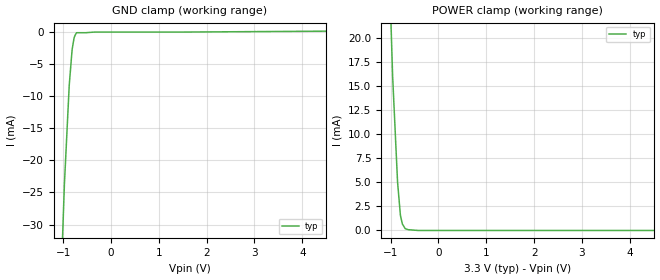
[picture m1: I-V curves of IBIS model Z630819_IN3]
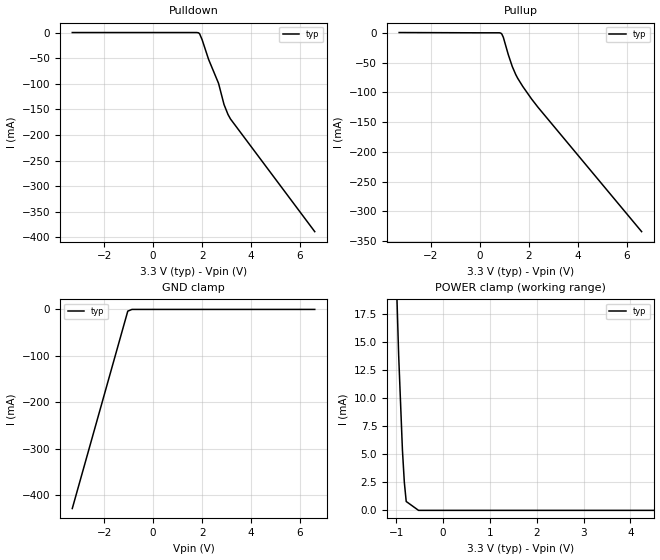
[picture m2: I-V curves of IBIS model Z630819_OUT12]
[IBIS Ver] 3.1
[File Name] nb100lvep222fa_33.ibs
[File Rev] 1.0
[Source] Derived from mc100lvep222fa_33.ibs
|   measured and created by ICX Technology
[Date] 1/26/2003
[Copyright]
| (C) COPYRIGHT 1993-2000
| MENTOR GRAPHICS CORPORATION
| ICX STANDARD LIBRARY, ICX PROJECT MODELING,
| ICX CUSTOM MODELING, ICX VENDOR MODEL
| ALL RIGHTS RESERVED.
| THE FOLLOWING ARE TRADEMARKS OR SERVICE MARKS OF
| MENTOR GRAPHICS CORPORATION:ICX (R), ICX STANDARD
| LIBRARY(R), ICX PROJECT MODELING(R), ICX CUSTOM
| MODELING(R), qualityIBIS(TM), MODELVIEWER(TM),
| AND MODELEDITOR(TM)
| ALL COPIES OF SOFTWARE, INCLUDING BUT NOT LIMITED TO
| ANY MODIFICATIONS, ENHANCEMENTS OR DERIVATIVE WORKS,
| MUST CONTAIN ALL MENTOR GRAPHICS CORPORATION'S
| NOTICES AND LEGENDS, INCLUDING THOSE EMBEDDED IN
| SOFTWARE AND THOSE AFFIXED TO SOFTWARE MEDIUM
| AND CONTAINER, AS RECEIVED FROM MENTOR GRAPHICS
| CORPORATION.
|  ZAP Model Builder 2.8
[Component] NB100LVEP222FA_33
[Manufacturer] ON
[Package]
| variable   typ   min   max
R_pkg  .091ohms NA NA
L_pkg  .367nH NA NA
C_pkg  .0523pF NA NA
[Pin] signal_name  model_name  R_pin  L_pin C_pin
1 VCC POWER
2 MR Z630819_IN3
3 FSELA Z630819_IN3
4 FSELB Z630819_IN3
5 CLK0 Z630819_IN3
6 _CLK0 Z630819_IN3
7 CLK_SEL Z630819_IN3
8 CLK1 Z630819_IN3
9 _CLK1 Z630819_IN3
10 VBB POWER
11 FSELC Z630819_IN3
12 FSELD Z630819_IN3
13 VEE GND
14 VCC0 POWER
15 _QD5 Z630819_OUT12
16 QD5 Z630819_OUT12
17 _QD4 Z630819_OUT12
18 QD4 Z630819_OUT12
19 _QD3 Z630819_OUT12
20 QD3 Z630819_OUT12
21 _QD2 Z630819_OUT12
22 QD2 Z630819_OUT12
23 _QD1 Z630819_OUT12
24 QD1 Z630819_OUT12
25 _QD0 Z630819_OUT12
26 QD0 Z630819_OUT12
27 VCC0 POWER
28 NC NC
29 NC NC
30 VCC0 POWER
31 _QC3 Z630819_OUT12
32 QC3 Z630819_OUT12
33 _QC2 Z630819_OUT12
34 QC2 Z630819_OUT12
35 _QC1 Z630819_OUT12
36 QC1 Z630819_OUT12
37 _QC0 Z630819_OUT12
38 QC0 Z630819_OUT12
39 VCCO POWER
40 VCCO POWER
41 _QB2 Z630819_OUT12
42 QB2 Z630819_OUT12
43 _QB1 Z630819_OUT12
44 QB1 Z630819_OUT12
45 _QB0 Z630819_OUT12
46 QB0 Z630819_OUT12
47 VCCO POWER
48 _QA1 Z630819_OUT12
49 QA1 Z630819_OUT12
50 _QA0 Z630819_OUT12
51 QA0 Z630819_OUT12
52 VCCO POWER
[Diff Pin] inv_pin vdiff tdelay_typ tdelay_min tdelay_max
5 6 800mv NA NA NA
8 9 800mv NA NA NA
16 15 NA NA
18 17 NA NA
20 19 NA NA
22 21 NA NA
24 23 NA NA
26 25 NA NA
32 31 NA NA
34 33 NA NA
36 35 NA NA
38 37 NA NA
42 41 NA NA
44 43 NA NA
46 45 NA NA
49 48 NA NA
51 50 NA NA
| Models and submodels in the file (2): Z630819_IN3 (Input_ECL), Z630819_OUT12 (Output_ECL)
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| Model Application Version 1.89 2/18/99.
[Model] Z630819_IN3
Model_type Input_ECL
Vinl = 1.675V
Vinh = 2.135V
C_comp 1.000pF NA NA
| variable typ   min   max
[Voltage Range] 3.300V NA NA
[GND Clamp Reference] 0.000V NA NA
[POWER Clamp Reference] 3.300V NA NA
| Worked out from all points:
|   GND clamp passes 1 mA (typ) near -0.77 V on its own axis
|   POWER clamp passes 1 mA (typ) near -0.77 V on its own axis
[GND Clamp]
-3.3V     -625.8mA   NA         NA
-1.095V   -49.9mA    NA         NA
-973mV    -23.8mA    NA         NA
-872mV    -8.3mA     NA         NA
-811mV    -2.7mA     NA         NA
-770mV    -900uA     NA         NA
-750mV    -500uA     NA         NA
-719.8mV  -100uA     NA         NA
-532.3mV  -100uA     NA         NA
-344.8mV  0A         NA         NA
1.449V    0A         NA         NA
6.6V      243.2uA    NA         NA
[POWER Clamp]
-3.3V     386.1mA    NA         NA
-957mV    15.97mA    NA         NA
-855mV    5.072mA    NA         NA
-795mV    1.575mA    NA         NA
-754mV    677uA      NA         NA
-693mV    179.9uA    NA         NA
-632mV    82.77uA    NA         NA
-421.3mV  0A         NA         NA
6.6V      0A         NA         NA
| Model Application Version 1.89 2/18/99.
[Model] Z630819_OUT12
Model_type Output_ECL
Vref=1.300V
Rref=50.00ohms
Cref=0.000F
Vmeas=1.900V
C_comp 1.000pF NA NA
| variable typ   min   max
[Voltage Range] 3.300V NA NA
[POWER Clamp Reference] 3.300V NA NA
[Pullup Reference] 3.300V NA NA
[Pulldown Reference] 3.300V NA NA
[GND Clamp Reference] 0.000V NA NA
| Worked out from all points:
|   GND clamp passes 1 mA (typ) near -0.91 V on its own axis
|   POWER clamp passes 1 mA (typ) near -0.79 V on its own axis
[GND Clamp]
-3.3V     -429.1mA   NA         NA
-1.034V   -3.713mA   NA         NA
-861.7mV  0A         NA         NA
6.6V      0A         NA         NA
[Pulldown]
-3.3V     0A         NA         NA
1.78V     0A         NA         NA
1.841V    -400uA     NA         NA
1.861V    -800uA     NA         NA
1.901V    -2.6mA     NA         NA
2.003V    -14.2mA    NA         NA
2.266V    -52.5mA    NA         NA
2.672V    -99.2mA    NA         NA
2.895V    -140.5mA   NA         NA
3.057V    -159.9mA   NA         NA
3.158V    -168.7mA   NA         NA
6.6V      -388.8mA   NA         NA
[Pullup]
-3.3V     450.5uA    NA         NA
852mV     -600uA     NA         NA
893mV     -2.1mA     NA         NA
954mV     -7.6mA     NA         NA
1.156V    -36.7mA    NA         NA
1.318V    -56.6mA    NA         NA
1.46V     -70.2mA    NA         NA
1.744V    -90mA      NA         NA
2.109V    -111.4mA   NA         NA
6.6V      -334.3mA   NA         NA
[POWER Clamp]
-3.3V     399.1mA    NA         NA
-1.073V   30.65mA    NA         NA
-952mV    13.87mA    NA         NA
-871mV    5.378mA    NA         NA
-830mV    2.484mA    NA         NA
-790mV    788.9uA    NA         NA
-526.7mV  0A         NA         NA
6.6V      0A         NA         NA
[Ramp]
| variable typ min max
dV/dt_r 479.4m/193.4p NA NA
dV/dt_f 479.4m/159.7p NA NA
R_load = 50.00Ohms
